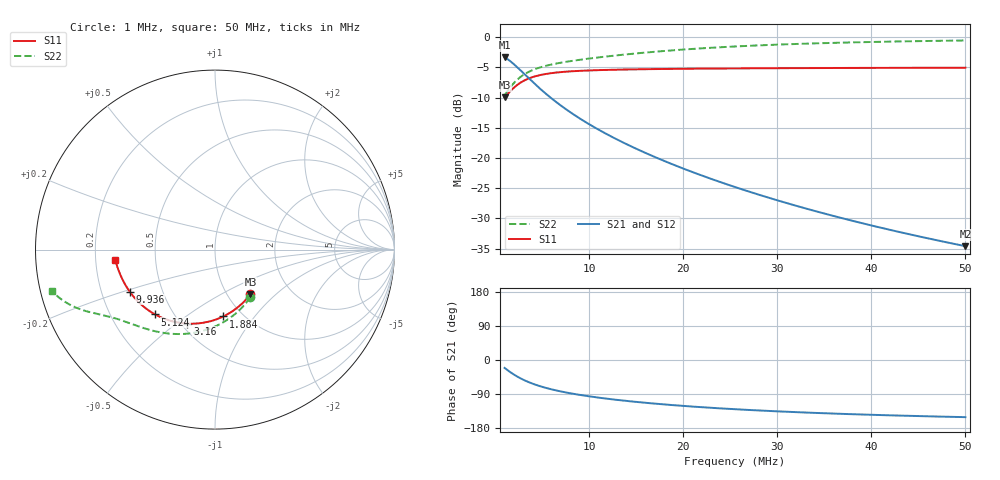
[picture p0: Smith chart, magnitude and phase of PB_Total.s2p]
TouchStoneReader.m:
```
clear
clc
close all

fileID = fopen('TouchStoneFiles/PB_Total.s2p', 'r');
frequencies=[];
S11_r=[];
S11_i=[];
S12_r=[];
S12_i=[];
S21_r=[];
S21_i=[];
S22_r=[];
S22_i=[];
i=0;

% Leer línea por línea
while ~feof(fileID)%indica si se termino de leer todo el documento 
    line = fgetl(fileID); %debuelbe la primera linea del archivo
    
    % Ignorar comentarios o líneas vacías
    if startsWith(line, '!') || isempty(line)%evaluea si la primer línea empieza con ! o espacio en blanco
        continue;
    end
    
    % Leer la línea de encabezado (si aplica)
    if startsWith(line, '#')
        header = strsplit(line);
        continue;
    end
    
    % Leer datos numéricos
    [A,data] = sscanf(line, '%f');
    lenght_A=length(A);
    for j1=1:lenght_A
        if (j1==1)
            i=i+1;
            frequencies(i,1)=A(j1,1);
        elseif (j1==2)
            S11_r(i,1)=A(j1,1);
        elseif (j1==3)
            S11_i(i,1)=A(j1,1);
        elseif (j1==4)
            S12_r(i,1)=A(j1,1);
        elseif (j1==5)
            S12_i(i,1)=A(j1,1);
        elseif (j1==6)
            S21_r(i,1)=A(j1,1);
        elseif (j1==7)
            S21_i(i,1)=A(j1,1);
        elseif (j1==8)
            S22_r(i,1)=A(j1,1);
        elseif (j1==9)
            S22_i(i,1)=A(j1,1);
        end
    end
end
    S11=[];
    S11=complex(S11_r,S11_i);
    S12=[];
    S12=complex(S12_r,S12_i);
    S21=[];
    S21=complex(S21_r,S21_i);
    S22=[];
    S22=complex(S22_r,S22_i);
% Cerrar el archivo
fclose(fileID);

fprintf("ok");
```
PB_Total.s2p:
# MHz S RI R 50
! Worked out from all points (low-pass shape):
!   500 points, 1 MHz to 50 MHz, reference 50 ohm
!   highest |S21| = -3.33 dB at 1 MHz (marker M1); lowest = -34.6 dB at 50 MHz (marker M2)
!   |S21| within 3 dB of the highest: start of sweep to 3.246 MHz
!   lowest |S11| = -10.0 dB at 1 MHz (marker M3), VSWR 1.93, Z = 63.7 - j35.2 ohm
!   |S11| at or under -10 dB: nowhere
!   |S22| runs from -9.6 to -0.6 dB; largest |S21 - S12| = 1.7e-15
!   S11 on the Smith chart (normalised r, x): 1 MHz: 1.27, -0.70; 1.884 MHz: 0.82, -0.71; 3.16 MHz: 0.54, -0.55; 5.124 MHz: 0.40, -0.38; 9.936 MHz: 0.32, -0.21; 50 MHz: 0.28, -0.05
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1  0.1976 -0.2482  0.6367 -0.2432  0.6367 -0.2432  0.1969 -0.2664
1.883768  0.0465 -0.3722  0.4861 -0.3627  0.4861 -0.3627  0.0438 -0.4063
3.160321  -0.1538 -0.4125  0.2871 -0.3967  0.2871 -0.3967  -0.1613 -0.469
4.044088  -0.2515 -0.3957  0.1906 -0.3756  0.1906 -0.3756  -0.2636 -0.4671
5.124248  -0.3333 -0.3614  0.1107 -0.3363  0.1107 -0.3363  -0.3524 -0.4503
7.186373  -0.4213 -0.2967  0.0275 -0.2629  0.0275 -0.2629  -0.4571 -0.4164
9.935872  -0.4755 -0.2339  -0.0189 -0.1904  -0.0189 -0.1904  -0.5391 -0.3879
16.80962  -0.5224 -0.1517  -0.0432 -0.0937  -0.0432 -0.0937  -0.6654 -0.3568
25.5491  -0.5409 -0.1057  -0.0368 -0.0439  -0.0368 -0.0439  -0.7722 -0.324
36.93988  -0.5505 -0.0761  -0.025 -0.0194  -0.025 -0.0194  -0.8571 -0.2763
50  -0.5554 -0.0576  -0.0163 -0.00909  -0.0163 -0.00909  -0.9102 -0.2288
